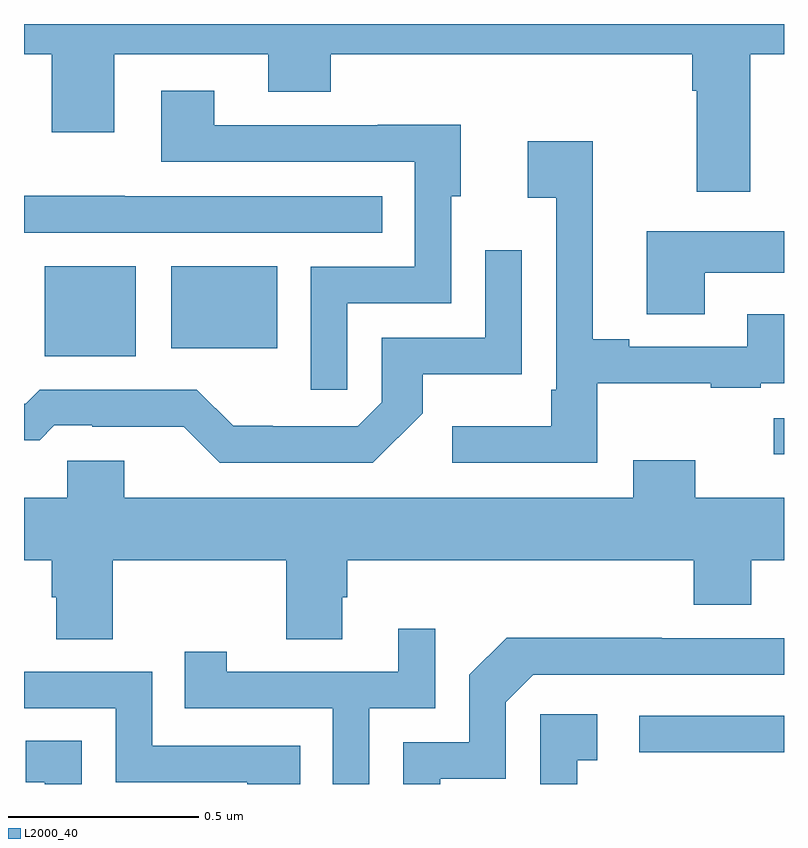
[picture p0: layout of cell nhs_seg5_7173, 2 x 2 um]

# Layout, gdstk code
import gdstk
lib = gdstk.Library(unit=1e-6, precision=1e-09)
def R(c, l, rs):  # rectangles x0, y0, x1, y1
    for r in rs: c.add(gdstk.rectangle(r[:2], r[2:], *l))
def P(c, l, *ps):  # polygons
    for p in ps: c.add(gdstk.Polygon(p, *l))
L2000_40 = (2000, 40)

nhs_seg5_7173 = lib.new_cell('nhs_seg5_7173')
R(nhs_seg5_7173, L2000_40, [(206.619,894.882,207,894.978), (206.973,895.667,207,895.761), (205.055,895.925,205.294,896.161), (205.388,895.946,205.666,896.161)])
P(nhs_seg5_7173, L2000_40, [(206.911,896.72),(207,896.72),(207,896.799),(205,896.799),(205,896.72),(205.073,896.72),(205.073,896.514),(205.237,896.514),(205.237,896.72),(205.643,896.72),(205.643,896.621),(205.807,896.621),(205.807,896.72),(206.759,896.72),(206.759,896.624),(206.771,896.624),(206.771,896.358),(206.911,896.358)],
  [(205.851,896.064),(206.124,896.064),(206.124,896.346),(206.149,896.346),(206.149,896.534),(205.931,896.534),(205.931,896.532),(205.501,896.532),(205.501,896.623),(205.361,896.623),(205.361,896.436),(206.028,896.436),(206.028,896.16),(205.755,896.16),(205.755,895.836),(205.851,895.836)],
  [(206.509,895.853),(206.807,895.853),(206.807,895.842),(206.939,895.842),(206.939,895.854),(207,895.854),(207,896.035),(206.903,896.035),(206.903,895.95),(206.593,895.95),(206.593,895.969),(206.497,895.969),(206.497,896.491),(206.325,896.491),(206.325,896.342),(206.4,896.342),(206.4,895.837),(206.388,895.837),(206.388,895.741),(206.127,895.741),(206.127,895.644),(206.509,895.644)],
  [(205.943,896.346),(205.265,896.346),(205.265,896.347),(205,896.347),(205,896.25),(205.943,896.25)],
  [(206.791,896.144),(207,896.144),(207,896.254),(206.639,896.254),(206.639,896.035),(206.791,896.035)],
  [(206.049,895.775),(206.049,895.877),(206.31,895.877),(206.31,896.203),(206.214,896.203),(206.214,895.974),(205.941,895.974),(205.941,895.803),(205.878,895.74),(205.654,895.74),(205.654,895.742),(205.55,895.742),(205.455,895.836),(205.041,895.836),(205.005,895.8),(205,895.8),(205,895.704),(205.041,895.704),(205.08,895.743),(205.18,895.743),(205.18,895.739),(205.421,895.739),(205.515,895.644),(205.918,895.644)],
  [(205.233,895.388),(205.69,895.388),(205.69,895.18),(205.837,895.18),(205.837,895.29),(205.85,895.29),(205.85,895.388),(206.762,895.388),(206.762,895.271),(206.914,895.271),(206.914,895.388),(207,895.388),(207,895.552),(206.767,895.552),(206.767,895.651),(206.603,895.651),(206.603,895.552),(205.264,895.552),(205.264,895.65),(205.114,895.65),(205.114,895.552),(205,895.552),(205,895.388),(205.073,895.388),(205.073,895.29),(205.085,895.29),(205.085,895.18),(205.233,895.18)],
  [(205.908,894.999),(206.082,894.999),(206.082,895.207),(205.985,895.207),(205.985,895.095),(205.534,895.095),(205.534,895.147),(205.423,895.147),(205.423,894.999),(205.812,894.999),(205.812,894.799),(205.908,894.799)],
  [(206.095,894.813),(206.268,894.813),(206.268,895.014),(206.34,895.086),(207,895.086),(207,895.182),(206.678,895.182),(206.678,895.184),(206.27,895.184),(206.172,895.086),(206.172,894.909),(205.998,894.909),(205.998,894.799),(206.095,894.799)],
  [(205.727,894.9),(205.338,894.9),(205.338,895.095),(205,895.095),(205,894.999),(205.242,894.999),(205.242,894.804),(205.587,894.804),(205.587,894.799),(205.727,894.799)],
  [(206.456,894.861),(206.509,894.861),(206.509,894.982),(206.358,894.982),(206.358,894.799),(206.456,894.799)],
  [(205.152,894.913),(205.005,894.913),(205.005,894.803),(205.054,894.803),(205.054,894.799),(205.152,894.799)])

lib.write_gds('nhs_seg5_7173.gds')
